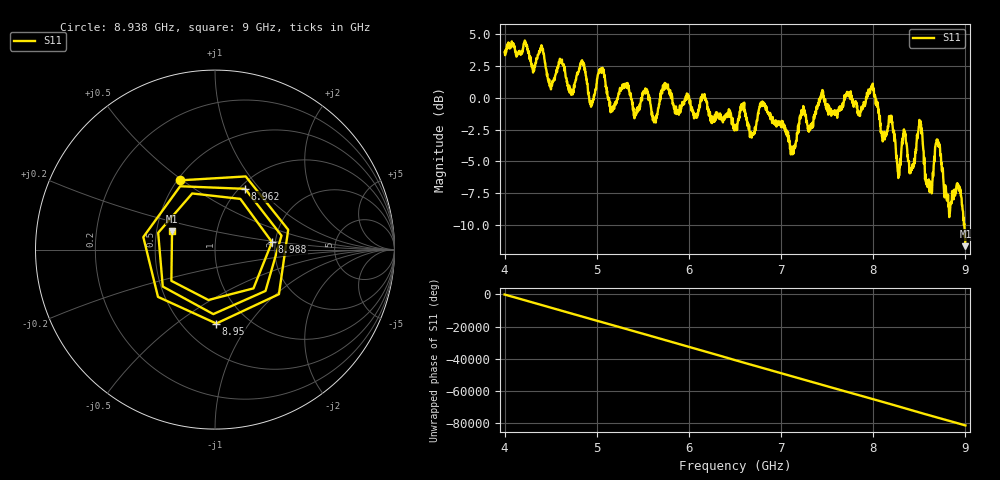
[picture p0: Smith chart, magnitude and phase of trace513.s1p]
! Created with skrf 1.8.0 (http://scikit-rf.org).
# Hz S RI R 50.0
!freq ReS11 ImS11
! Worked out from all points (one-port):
!   1601 points, 4 GHz to 9 GHz, reference 50 ohm
!   lowest |S11| = -11.7 dB at 9 GHz (marker M1), VSWR 1.71, Z = 30.1 + j6.68 ohm
!   |S11| at or under -10 dB: 8.983948 GHz to 8.984336 GHz (387.8 kHz wide, 0.00432 % of centre); 8.988735 GHz to end of sweep
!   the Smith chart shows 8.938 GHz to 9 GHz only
!   S11 on the Smith chart (normalised r, x): 8.938 GHz: 0.51, +0.49; 8.95 GHz: 0.72, -0.71; 8.962 GHz: 1.06, +0.84; 8.988 GHz: 1.92, +0.18; 9 GHz: 0.60, +0.13
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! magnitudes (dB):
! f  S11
! 4 GHz  3.6
! 4.4 GHz  4.1
! 4.503 GHz  0.7
! 4.625 GHz  2.7
! 4.722 GHz  0.2
! 4.847 GHz  2.6
! 4.941 GHz  -0.6
! 5.044 GHz  2.3
! 5.162 GHz  -0.8
! 5.25 GHz  0.7
! 5.875 GHz  -1.2
! 6.5 GHz  -2.3
! 6.806 GHz  -0.6
! 7.125 GHz  -4.4
! 7.231 GHz  -1.4
! 7.75 GHz  0.3
! 7.994 GHz  1.1
! 8.272 GHz  -6.3
! 8.375 GHz  -4.5
! 8.506 GHz  -2.0
! 8.597 GHz  -6.7
! 8.697 GHz  -3.3
! 8.819 GHz  -8.4
! 8.938 GHz  -7.3
! 8.95 GHz  -7.7
! 8.962 GHz  -8.5
! 8.988 GHz  -9.9
! 9 GHz  -11.7
